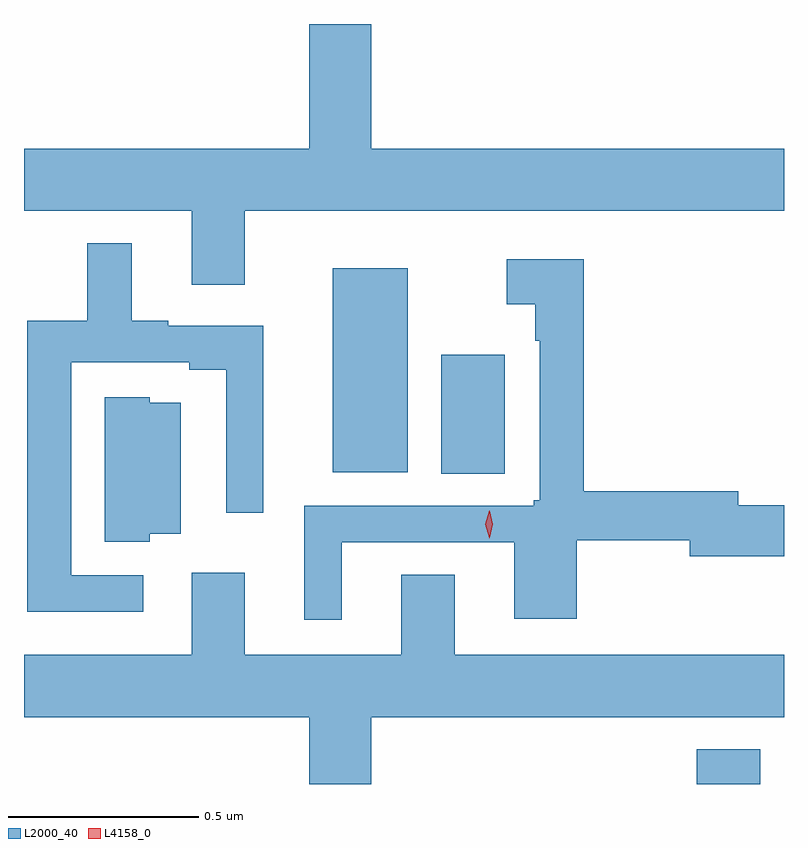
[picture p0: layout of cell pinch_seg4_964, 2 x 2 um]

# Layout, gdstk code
import gdstk
lib = gdstk.Library(unit=1e-6, precision=1e-09)
def R(c, l, rs):  # rectangles x0, y0, x1, y1
    for r in rs: c.add(gdstk.rectangle(r[:2], r[2:], *l))
def P(c, l, *ps):  # polygons
    for p in ps: c.add(gdstk.Polygon(p, *l))
L2000_40 = (2000, 40)
L4158_0 = (4158, 0)

pinch_seg4_964 = lib.new_cell('pinch_seg4_964')
R(pinch_seg4_964, L2000_40, [(693.5,774,693.667,774.091), (692.828,774.817,692.995,775.129), (692.543,774.821,692.74,775.357)])
P(pinch_seg4_964, L2000_40, [(692.311,775.508),(693.73,775.508),(693.73,775.672),(692.644,775.672),(692.644,776),(692.48,776),(692.48,775.672),(691.73,775.672),(691.73,775.508),(692.171,775.508),(692.171,775.314),(692.311,775.314)],
  [(692.044,774.549),(691.854,774.549),(691.854,775.11),(692.165,775.11),(692.165,775.09),(692.262,775.09),(692.262,774.714),(692.36,774.714),(692.36,775.206),(692.11,775.206),(692.11,775.219),(692.014,775.219),(692.014,775.423),(691.897,775.423),(691.897,775.219),(691.738,775.219),(691.738,774.453),(692.044,774.453)],
  [(692.566,774.636),(693.02,774.636),(693.02,774.435),(693.184,774.435),(693.184,774.642),(693.482,774.642),(693.482,774.599),(693.73,774.599),(693.73,774.734),(693.61,774.734),(693.61,774.77),(693.203,774.77),(693.203,775.381),(693,775.381),(693,775.262),(693.075,775.262),(693.075,775.166),(693.087,775.166),(693.087,774.747),(693.072,774.747),(693.072,774.732),(692.468,774.732),(692.468,774.432),(692.566,774.432)],
  [(692.061,774.659),(692.143,774.659),(692.143,775.003),(692.061,775.003),(692.061,775.018),(691.943,775.018),(691.943,774.638),(692.061,774.638)],
  [(692.644,774.176),(693.73,774.176),(693.73,774.34),(692.863,774.34),(692.863,774.551),(692.723,774.551),(692.723,774.34),(692.311,774.34),(692.311,774.556),(692.171,774.556),(692.171,774.34),(691.73,774.34),(691.73,774.176),(692.48,774.176),(692.48,774),(692.644,774)])
P(pinch_seg4_964, L4158_0, [(692.954,774.647),(692.954,774.648),(692.944,774.683),(692.954,774.719),(692.954,774.719),(692.955,774.719),(692.964,774.683),(692.955,774.648)])

lib.write_gds('pinch_seg4_964.gds')
